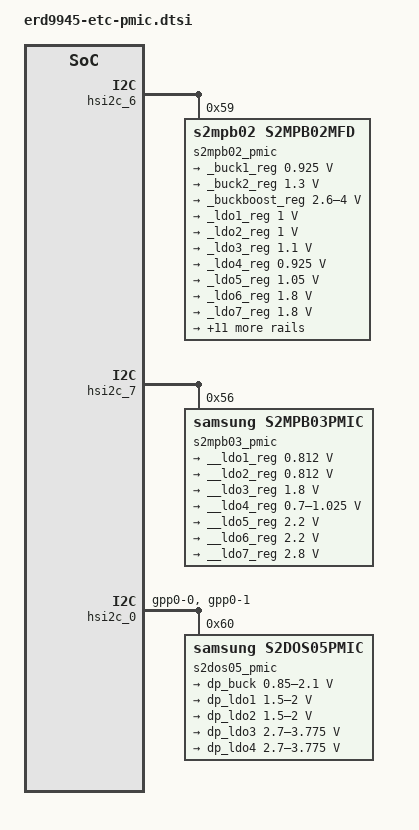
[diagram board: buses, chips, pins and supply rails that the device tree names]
/*
 * SAMSUNG S5E9945 Display, Camera PMIC device tree source
 *
 * Copyright (c) 2023 Samsung Electronics Co., Ltd.
 *             http://www.samsung.com
 *
 * SAMSUNG S5E9945 Display, Camera PMIC device nodes are listed in this file.
 * EXYNOS based board files can include this file and provide
 * values for board specfic bindings.
 *
 * This program is free software; you can redistribute it and/or modify
 * it under the terms of the GNU General Public License version 2 as
 * published by the Free Software Foundation.
 */

&pinctrl_0 {
	cam_pmic_a_irq: cam-pmic-a-irq {
		samsung,pins = "gpa2-2";
		samsung,pin-function = <0>;
		samsung,pin-pud = <0>;
		samsung,pin-drv = <0>;
	};

	dp_pmic_irq: dp-pmic-irq {
		samsung,pins = "gpa2-6";
		samsung,pin-function = <0>;
		samsung,pin-pud = <0>;
		samsung,pin-drv = <0>;
	};
};

&pinctrl_7 {
	dp_pmic_bus: dp-pmic-bus {
		samsung,pins = "gpp0-0", "gpp0-1";
		samsung,pin-function = <2>;
		samsung,pin-pud = <3>;
		samsung,pin-drv = <0>;
	};
};


&hsi2c_6 {
	#address-cells = <3>;
	#size-cells = <0>;
	status = "okay";
	s2mpb02_pmic@59 {
		compatible = "s2mpb02,s2mpb02mfd";
		reg = <0x59 0x0 0x10>;

		s2mpb02,wakeup;
		pinctrl-names = "default";
		pinctrl-0 = <&cam_pmic_a_irq>;

		regulators {
			_buck1_reg: s2mpb02-buck1 {
				regulator-name = "VDDD_0.92V_CAM";
				regulator-min-microvolt = <925000>;
				regulator-max-microvolt = <925000>;
			};

			_buck2_reg: s2mpb02-buck2 {
				regulator-name = "S2MPB02_BUCK2";
				regulator-min-microvolt = <1300000>;
				regulator-max-microvolt = <1300000>;
			};

			_buckboost_reg: s2mpb02-bb {
				regulator-name = "S2MPB02_BB";
				regulator-min-microvolt = <2600000>;
				regulator-max-microvolt = <4000000>;
			};

			_ldo1_reg: s2mpb02-ldo1 {
				regulator-name = "VDDPHY_1.0V_CAM";
				regulator-min-microvolt = <1000000>;
				regulator-max-microvolt = <1000000>;
			};

			_ldo2_reg: s2mpb02-ldo2 {
				regulator-name = "S2MPB02_LDO2";
				regulator-min-microvolt = <1000000>;
				regulator-max-microvolt = <1000000>;
			};

			_ldo3_reg: s2mpb02-ldo3 {
				regulator-name = "VDDD_1.1V_WIDESUB";
				regulator-min-microvolt = <1100000>;
				regulator-max-microvolt = <1100000>;
			};

			_ldo4_reg: s2mpb02-ldo4 {
				regulator-name = "VDDD_0.92V_VT";
				regulator-min-microvolt = <925000>;
				regulator-max-microvolt = <925000>;
			};

			_ldo5_reg: s2mpb02-ldo5 {
				regulator-name = "VDDD_1.05V_VT";
				regulator-min-microvolt = <1050000>;
				regulator-max-microvolt = <1050000>;
			};

			_ldo6_reg: s2mpb02-ldo6 {
				regulator-name = "VDDA_1.8V_WIDESUB";
				regulator-min-microvolt = <1800000>;
				regulator-max-microvolt = <1800000>;
			};

			_ldo7_reg: s2mpb02-ldo7 {
				regulator-name = "VDDIO_1.8V_COMMON";
				regulator-min-microvolt = <1800000>;
				regulator-max-microvolt = <1800000>;
			};

			_ldo8_reg: s2mpb02-ldo8 {
				regulator-name = "VDDIO_1.8V_CAM";
				regulator-min-microvolt = <1800000>;
				regulator-max-microvolt = <1800000>;
			};

			_ldo9_reg: s2mpb02-ldo9 {
				regulator-name = "S2MPB02_LDO9";
				regulator-min-microvolt = <1800000>;
				regulator-max-microvolt = <1800000>;
			};

			_ldo10_reg: s2mpb02-ldo10 {
				regulator-name = "VDDOIS_1.8V_SUB2";
				regulator-min-microvolt = <1800000>;
				regulator-max-microvolt = <1800000>;
			};

			_ldo11_reg: s2mpb02-ldo11 {
				regulator-name = "VDDAF_3.3V_CAM";
				regulator-min-microvolt = <3300000>;
				regulator-max-microvolt = <3300000>;
			};

			_ldo12_reg: s2mpb02-ldo12 {
				regulator-name = "VDDAF_3.3V_SUB";
				regulator-min-microvolt = <3300000>;
				regulator-max-microvolt = <3300000>;
			};

			_ldo13_reg: s2mpb02-ldo13 {
				regulator-name = "VDDAF_3.3V_WIDESUB";
				regulator-min-microvolt = <3300000>;
				regulator-max-microvolt = <3300000>;
			};

			_ldo14_reg: s2mpb02-ldo14 {
				regulator-name = "VDDOIS_3.3V_SUB";
				regulator-min-microvolt = <3300000>;
				regulator-max-microvolt = <3300000>;
			};

			_ldo15_reg: s2mpb02-ldo15 {
				regulator-name = "VDDAF_2.8V_VT";
				regulator-min-microvolt = <2800000>;
				regulator-max-microvolt = <2800000>;
			};

			_ldo16_reg: s2mpb02-ldo16 {
				regulator-name = "VDDA_2.8V_SUB";
				regulator-min-microvolt = <2800000>;
				regulator-max-microvolt = <2800000>;
			};

			_ldo17_reg: s2mpb02-ldo17 {
				regulator-name = "VDDA_2.8V_WIDESUB";
				regulator-min-microvolt = <2800000>;
				regulator-max-microvolt = <2800000>;
			};

			_ldo18_reg: s2mpb02-ldo18 {
				regulator-name = "VDDOIS_3.3V_CAM";
				regulator-min-microvolt = <3300000>;
				regulator-max-microvolt = <3300000>;
			};
		};
	};
};

&hsi2c_7 {
	#address-cells = <1>;
	#size-cells = <0>;
	status = "okay";
	s2mpb03_pmic@56 {
		compatible = "samsung,s2mpb03pmic";
		reg = <0x56>;

		s2mpb03,wakeup;

		regulators {
			__ldo1_reg: s2mpb03-ldo1 {
				regulator-name = "VDDD_0.82V_SUB";
				regulator-min-microvolt = <812500>;
				regulator-max-microvolt = <812500>;
			};

			__ldo2_reg: s2mpb03-ldo2 {
				regulator-name = "VDDD_0.82V_SUB2";
				regulator-min-microvolt = <812500>;
				regulator-max-microvolt = <812500>;
			};

			__ldo3_reg: s2mpb03-ldo3 {
				regulator-name = "VDDIO_1.8V_CAM";
				regulator-min-microvolt = <1800000>;
				regulator-max-microvolt = <1800000>;
			};

			__ldo4_reg: s2mpb03-ldo4 {
				regulator-name = "S2MPB03_LD04";
				regulator-min-microvolt = <700000>;
				regulator-max-microvolt = <1025000>;
			};

			__ldo5_reg: s2mpb03-ldo5 {
				regulator-name = "VDDA_2.2V_CAM";
				regulator-min-microvolt = <2200000>;
				regulator-max-microvolt = <2200000>;
			};

			__ldo6_reg: s2mpb03-ldo6 {
				regulator-name = "VDDA_2.2V_VT";
				regulator-min-microvolt = <2200000>;
				regulator-max-microvolt = <2200000>;
			};

			__ldo7_reg: s2mpb03-ldo7 {
				regulator-name = "VDD_VM_2.8V_OIS";
				regulator-min-microvolt = <2800000>;
				regulator-max-microvolt = <2800000>;
			};
		};
	};
};

&hsi2c_0 {
	#address-cells = <1>;
	#size-cells = <0>;
	status = "okay";
	pinctrl-names = "default";
	pinctrl-0 = <&dp_pmic_bus>;
	s2dos05_pmic@60 {
		compatible = "samsung,s2dos05pmic";
		reg = <0x60>;
		s2dos05,wakeup;
		pinctrl-names = "default";
		pinctrl-0 = <&dp_pmic_irq>;
		s2dos05,s2dos05_int = <&gpa2 6 0>;
		adc_mode = <1>; /* 0 : disable, 1 : current meter, 2 : power meter */
		adc_sync_mode = <2>; /* 1 : sync mode, 2 : async mode */
		regulators {
			dp_buck: s2dos05-buck1 {
				regulator-name = "vdd1";
				regulator-min-microvolt = <850000>;
				regulator-max-microvolt = <2100000>;
				regulator-always-on;
				regulator-boot-on;
			};
			dp_ldo1: s2dos05-ldo1 {
				regulator-name = "vdd2";
				regulator-min-microvolt = <1500000>;
				regulator-max-microvolt = <2000000>;
				regulator-always-on;
				regulator-boot-on;
			};
			dp_ldo2: s2dos05-ldo2 {
				regulator-name = "vdd3";
				regulator-min-microvolt = <1500000>;
				regulator-max-microvolt = <2000000>;
			};
			dp_ldo3: s2dos05-ldo3{
				regulator-name = "vdd4";
				regulator-min-microvolt = <2700000>;
				regulator-max-microvolt = <3775000>;
			};
			dp_ldo4: s2dos05-ldo4{
				regulator-name = "vdd5";
				regulator-min-microvolt = <2700000>;
				regulator-max-microvolt = <3775000>;
				regulator-always-on;
				regulator-boot-on;
			};
		};
	};
};


